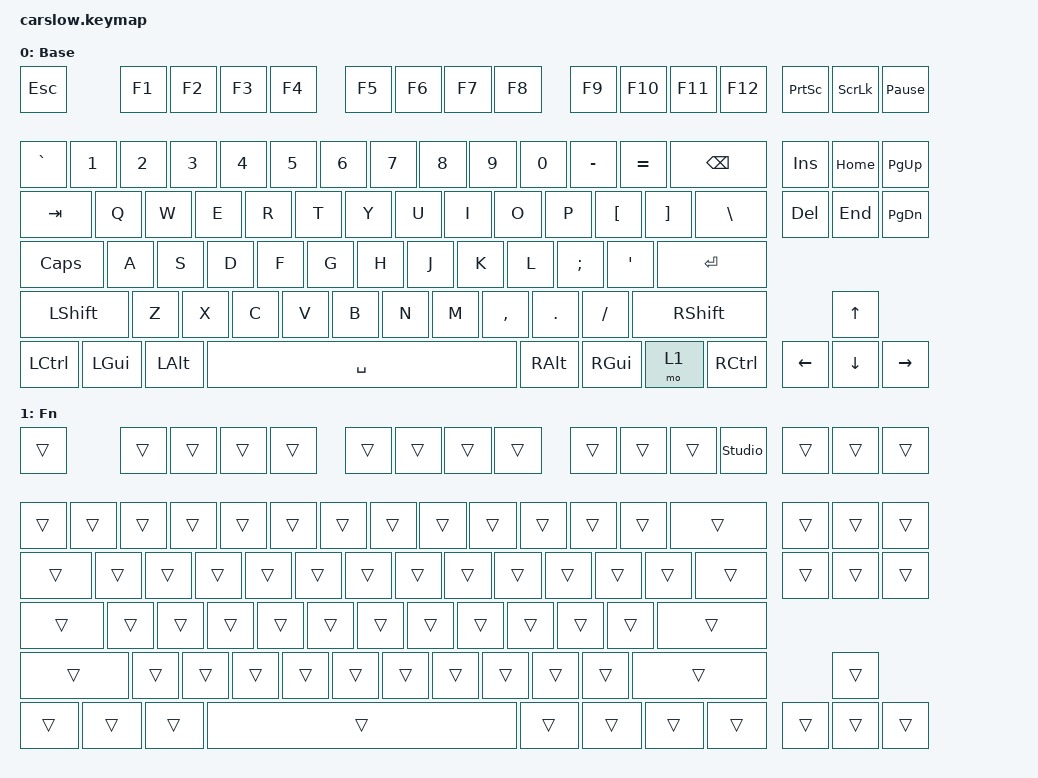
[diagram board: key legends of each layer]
#include <behaviors.dtsi>
#include <dt-bindings/zmk/keys.h>

/ {
    keymap {
        compatible = "zmk,keymap";

        default_layer {
            display-name = "Base";

            bindings = <
                // 00..10
                &kp ESC     &kp F1      &kp F2      &kp F3      &kp F4
                &kp F5      &kp F6      &kp F7      &kp F8      &kp F9
                &kp F10

                // 11..21
                &kp F11     &kp F12     &kp PSCRN   &kp SLCK    &kp PAUSE_BREAK
                &kp GRAVE   &kp N1      &kp N2      &kp N3      &kp N4
                &kp N5

                // 22..32
                &kp N6      &kp N7      &kp N8      &kp N9      &kp N0
                &kp MINUS   &kp EQUAL   &kp BSPC    &kp INS     &kp HOME
                &kp PG_UP

                // 33..43
                &kp TAB     &kp Q       &kp W       &kp E       &kp R
                &kp T       &kp Y       &kp U       &kp I       &kp O
                &kp P

                // 44..54
                &kp LBKT    &kp RBKT    &kp BSLH    &kp DEL     &kp END
                &kp PG_DN   &kp CAPS    &kp A       &kp S       &kp D
                &kp F

                // 55..65
                &kp G       &kp H       &kp J       &kp K       &kp L
                &kp SEMI    &kp SQT     &kp ENTER   &kp LSHFT   &kp Z
                &kp X

                // 66..76
                &kp C       &kp V       &kp B       &kp N       &kp M
                &kp COMMA   &kp DOT     &kp FSLH    &kp RSHFT   &kp UP
                &kp LCTRL

                // 77..86
                &kp LGUI
                &kp LALT
                &kp SPACE
                &kp RALT
                &kp RGUI
                &mo 1
                &kp RCTRL
                &kp LEFT
                &kp DOWN
                &kp RIGHT
            >;
        };

        fn_layer {
            display-name = "Fn";

            bindings = <
                // 00..10
                &trans       &trans          &trans &trans &trans
                &trans       &trans          &trans &trans &trans
                &trans

                // 11..21
                &trans       &studio_unlock  &trans &trans &trans
                &trans       &trans          &trans &trans &trans
                &trans

                // 22..32
                &trans &trans &trans &trans &trans
                &trans &trans &trans &trans &trans
                &trans

                // 33..43
                &trans &trans &trans &trans &trans
                &trans &trans &trans &trans &trans
                &trans

                // 44..54
                &trans &trans &trans &trans &trans
                &trans &trans &trans &trans &trans
                &trans

                // 55..65
                &trans &trans &trans &trans &trans
                &trans &trans &trans &trans &trans
                &trans

                // 66..76
                &trans &trans &trans &trans &trans
                &trans &trans &trans &trans &trans
                &trans

                // 77..86
                &trans &trans &trans &trans &trans
                &trans &trans &trans &trans &trans
            >;
        };
    };
};
